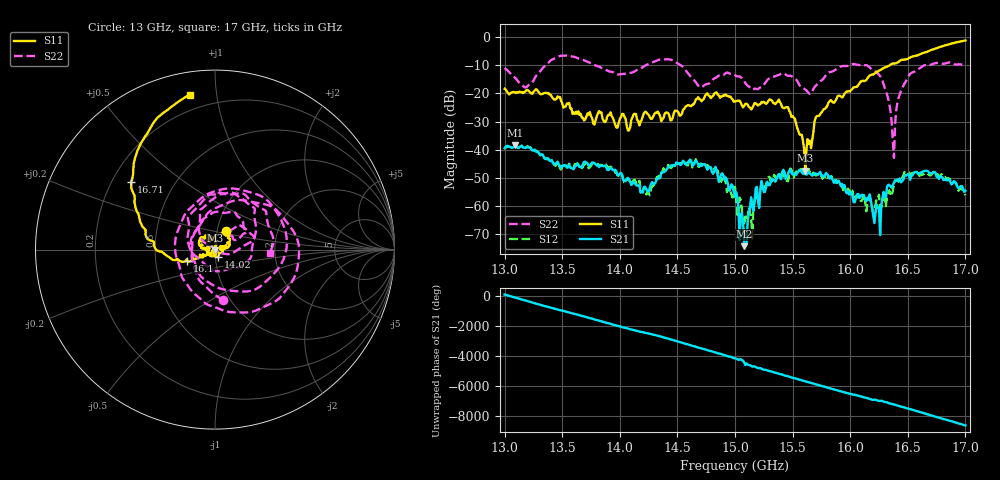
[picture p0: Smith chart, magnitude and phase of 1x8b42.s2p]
!Keysight Technologies,P9374A,MY57211807,A.19.30.04
!Date: Friday, May 08, 2026 14:28:25
!Correction: S11(C  2-Port  )
!S21(C  2-Port  )
!S12(C  2-Port  )
!S22(C  2-Port  )
!S2P File: Measurements: S11, S21, S12, S22:
# Hz S  dB  R 50
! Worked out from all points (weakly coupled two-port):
!   401 points, 13 GHz to 17 GHz, reference 50 ohm
!   highest |S21| = -38.50 dB at 13.09 GHz (marker M1); lowest = -74.3 dB at 15.08 GHz (marker M2)
!   lowest |S11| = -47.4 dB at 15.61 GHz (marker M3), VSWR 1.01, Z = 50.1 - j0.415 ohm
!   |S11| at or under -10 dB: start of sweep to 16.34 GHz
!   |S22| runs from -42.9 to -6.6 dB; largest |S21 - S12| = 0.0014
!   S11 on the Smith chart (normalised r, x): 13 GHz: 1.11, +0.23; 14.02 GHz: 1.03, -0.08; 16.1 GHz: 0.73, -0.09; 16.71 GHz: 0.28, +0.33; 17 GHz: 0.12, +0.84
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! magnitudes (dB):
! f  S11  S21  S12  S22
! 13 GHz  -18.4  -39.5  -39.4  -11.0
! 13.09 GHz  -19.6  -38.5  -38.5  -14.4
! 13.67 GHz  -28.6  -46.4  -46.6  -7.9
! 14.02 GHz  -27.3  -49.0  -49.0  -13.1
! 14.24 GHz  -27.2  -54.7  -54.9  -9.7
! 14.34 GHz  -27.2  -50.2  -49.2  -8.0
! 14.76 GHz  -20.0  -47.1  -45.5  -16.7
! 15 GHz  -22.8  -56.8  -53.2  -13.5
! 15.08 GHz  -24.4  -74.3  -66.2  -15.7
! 15.17 GHz  -23.4  -58.6  -57.6  -18.3
! 15.38 GHz  -22.1  -48.7  -49.2  -13.4
! 15.61 GHz  -47.4  -48.6  -49.2  -18.6
! 15.67 GHz  -36.7  -49.2  -48.8  -19.3
! 15.82 GHz  -22.8  -50.2  -49.9  -12.4
! 16.1 GHz  -15.6  -56.0  -58.2  -10.0
! 16.24 GHz  -12.2  -60.4  -57.3  -12.9
! 16.34 GHz  -10.1  -52.5  -54.4  -23.9
! 16.38 GHz  -9.4  -51.8  -52.6  -42.9
! 16.42 GHz  -8.8  -51.0  -51.4  -21.6
! 16.49 GHz  -7.8  -49.1  -48.0  -15.2
! 16.71 GHz  -4.4  -48.4  -48.6  -9.6
! 17 GHz  -1.2  -54.6  -56.1  -10.3
